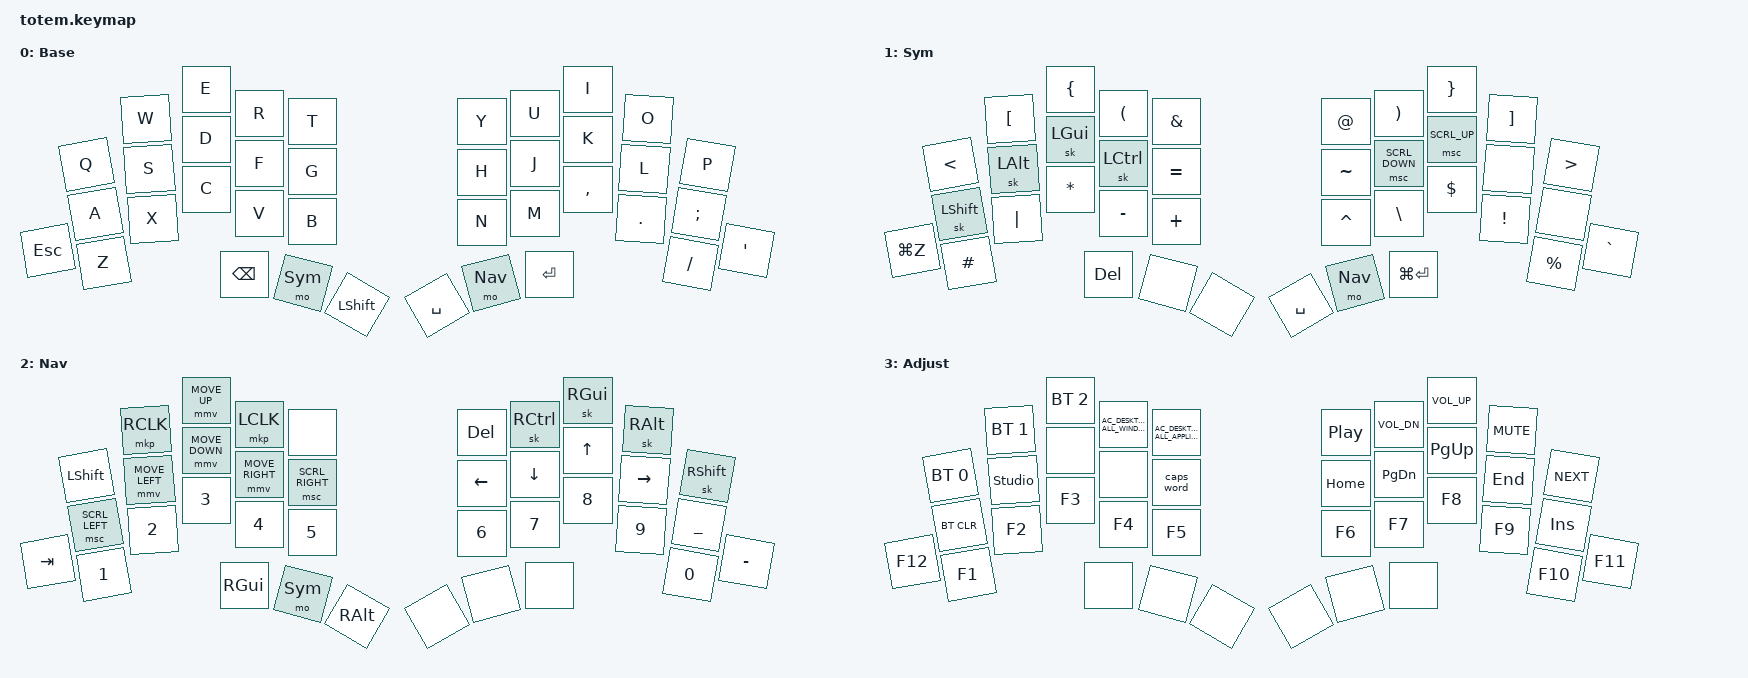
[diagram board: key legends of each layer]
//
//                                                        ▀▀▀▀▀     ▀▀▀▀▀          ▀▀█▀▀
//                                                        ▄▀▀▀▄  ▄  ▄▀▀▀▄  ▄  ▄▀▀▀▄  █  ▄▀▀▀▄
//                                                        █   █  █  █   █  █  █   █  █  █   █
//                                                         ▀▀▀   █   ▀▀▀   █   ▀▀▀   ▀   ▀▀▀
//                                                               █      ▄▄▄█▄▄▄    █   █  
//                                                               ▀      █  █  █     █▄█
//                                                             ▀▀▀▀▀    █  █  █      ▀
//                                                                      ▀  ▀  ▀
//
// ▄▄▄▄▄▄▄▄▄▄▄▄▄▄▄▄▄▄▄▄▄▄▄▄▄▄▄▄▄▄▄▄▄▄▄▄▄▄▄▄▄▄▄▄▄▄▄▄▄▄▄▄▄▄▄▄▄▄▄▄▄▄▄▄▄▄▄▄▄▄▄▄▄▄▄▄▄▄▄▄▄▄▄▄▄▄▄▄▄▄▄▄▄▄▄▄▄▄▄▄▄▄▄▄▄▄▄▄▄▄▄▄▄▄▄▄▄▄▄▄▄▄▄▄▄▄▄▄▄▄▄▄▄▄▄▄▄▄▄▄▄▄▄▄▄▄▄▄▄

#include <behaviors.dtsi>
#include <dt-bindings/zmk/keys.h>
#include <dt-bindings/zmk/bt.h>
#include <dt-bindings/zmk/outputs.h>
#include <dt-bindings/zmk/ext_power.h>

#define Base            0
#define Sym             1
#define Nav             2
#define Adjust          3

&sk {
    release-after-ms = <1000>;
    quick-release;
};

&caps_word {
    continue-list = <UNDERSCORE MINUS BSPC>;
};

/ {
    conditional_layers {
        compatible = "zmk,conditional-layers";
        tri_layer {
            if-layers = <1 2>;
            then-layer = <3>;
        };
    };

    //               0   1   2   3   4                   5   6   7   8   9
    //               10  11  12  13  14                  15  16  17  18  19
    //           20  21  22  23  24  25                  26  27  28  29  30  31
    //                       32  33  34                  35  36  37

    keymap {
        compatible = "zmk,keymap";

        // Staandard QWERTY layout with layers for Symbols, Navigation, and Adjust functions
        // left thumb switches to symbol layer, right thumb switches to navigation layer
        // Edge keys are Esc and single quote

        Base {
            label = "Base";
            bindings = <
                     &kp Q  &kp W  &kp E     &kp R    &kp T                      &kp Y      &kp U    &kp I      &kp O    &kp P
                     &kp A  &kp S  &kp D     &kp F    &kp G                      &kp H      &kp J    &kp K      &kp L    &kp SEMI
            &kp ESC  &kp Z  &kp X  &kp C     &kp V    &kp B                      &kp N      &kp M    &kp COMMA  &kp DOT  &kp SLASH  &kp SQT 
                                   &kp BSPC  &mo Sym  &kp LSHFT                  &kp SPACE  &mo Nav  &kp RET
            >;
        };

        // Symbol layer. First row has brackets and comparison operators
        // Home row has shift, alt, gui, ctrl, equal, tilde, and scroll up/down (a little nav spillover)
        // Central columns have &, @, =, ~, = and ^
        // Bottom row has tab, hash, pipe, star, minus, plus, caret, backslash, dollar, exclamaion, percent, grave
        Sym {
            label = "Sym";
            bindings = <
                          &kp LT     &kp LBKT  &kp LBRC  &kp LPAR   &kp AMPS         &kp AT     &kp  RPAR      &kp  RBRC    &kp RBKT  &kp GT
                          &sk LSHFT  &sk LALT  &sk LGUI  &sk LCTRL  &kp EQUAL        &kp TILDE  &msc SCRL_DOWN &msc SCRL_UP &none     &none
            &kp LG(Z)     &kp HASH   &kp PIPE  &kp STAR  &kp MINUS  &kp PLUS         &kp CARET  &kp  BSLH      &kp  DLLR    &kp EXCL  &kp PRCNT  &kp GRAVE
                                               &kp DEL   &none      &none            &kp SPACE  &mo  Nav       &kp  LG(RET)
            >;
        };

        // Navigation layer. Arrow keys on home row, mouse movement and clicking/scrolling on the left hand
        // Underscore lives here to be shiftable from the symbol layer
        // Extra modifiers on the top right row, and number pad on the bottom row

        Nav {
            label = "Nav";
            bindings = <
                    &kp LSHFT      &mkp RCLK      &mmv MOVE_UP   &mkp LCLK       &none                &kp DEL  &sk RCTRL  &sk RGUI  &sk RALT   &sk RSHFT
                    &msc SCRL_LEFT &mmv MOVE_LEFT &mmv MOVE_DOWN &mmv MOVE_RIGHT &msc SCRL_RIGHT      &kp LEFT &kp DOWN   &kp UP    &kp RIGHT  &kp UNDER
            &kp TAB &kp N1         &kp N2         &kp N3         &kp N4          &kp N5               &kp N6   &kp N7     &kp N8    &kp N9     &kp N0     &kp MINUS
                                                  &kp RGUI       &mo Sym         &kp RALT             &none    &none      &none
            >;
        };

        // Adjust layer. Activated when both Symbol and Navigation layers are active
        // Should have media controls on the top row and Bluetooth/power controls on the left

        Adjust {
            label = "Adjust";
            bindings = <
                      &bt BT_SEL 0  &bt BT_SEL 1   &bt BT_SEL 2  &kp C_AC_DESKTOP_SHOW_ALL_WINDOWS &kp C_AC_DESKTOP_SHOW_ALL_APPLICATIONS        &kp C_PP  &kp C_VOL_DN    &kp C_VOL_UP  &kp C_MUTE      &kp C_NEXT
                      &bt BT_CLR    &studio_unlock &none         &none                             &caps_word                                    &kp HOME  &kp PG_DN       &kp PG_UP     &kp END         &kp INS
            &kp F12   &kp F1        &kp F2         &kp F3        &kp F4                            &kp F5                                        &kp F6    &kp F7          &kp F8        &kp F9          &kp F10     &kp F11
                                                   &none         &none                             &none                                         &none     &none           &none
            >;
        };
    };
};
